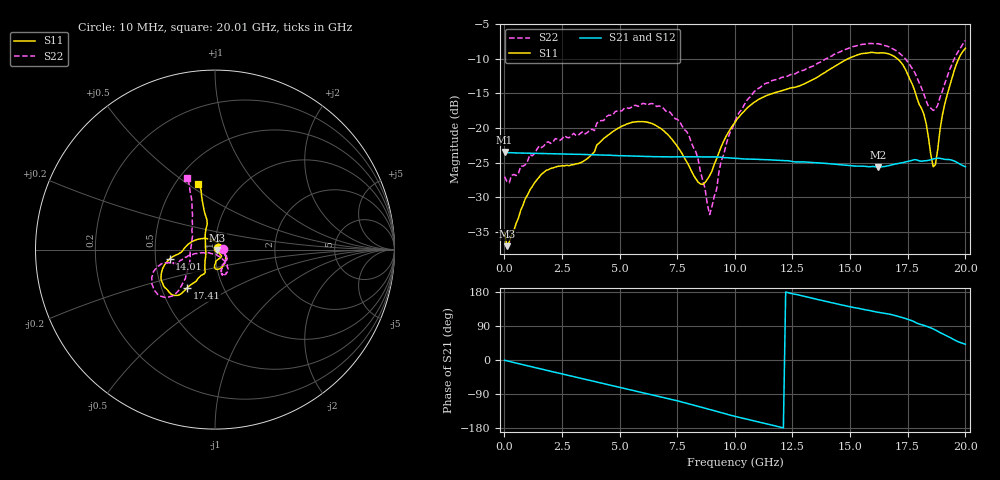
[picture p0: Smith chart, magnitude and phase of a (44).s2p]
! Hittite Microwave Corporation
! 2 Elizabeth Drive
! Chelmsford, MA 01824
! http://www.hittite.com
! Tel: 978-250-3343
! Fax: 978-250-3373
! Device:  HMC424LP3
! Description: 0.5 dB GaAs MMIC 6-Bit Digital Attenuator
! Frequency:  DC -  13.00 GHz
! Package:  LP3  - 3x3 mm Quad Flatpack No-Lead (QFN) Plastic Package: 16 pin
! Ports:  2 RF, 7 DC
!  Pad  1  = Ground
!  Pad  2  = RF IN  = Port 1
!  Pad  3  = Ground
!  Pad  4  = V6
!  Pad  5  = V5
!  Pad  6  = V4
!  Pad  7  = V3
!  Pad  8  = V2
!  Pad  9  = V1
!  Pad 10  = Ground
!  Pad 11  = RF OUT  = Port 2
!  Pad 12  = Ground
!  Pad 15  = VEE
! Control:  -5 Volt control voltage
! State:  42
! Attenuation:  21.0 dB
! Voltages:  Vdd = -5.00 Volts  Idd =  -2.396 mA
!  V1  = 0.00 Volts  I1  =  29.0 uA
!  V2  = -5.00 Volts  I2  =  -1.0 uA
!  V3  = 0.00 Volts  I3  =  29.0 uA
!  V4  = -5.00 Volts  I4  =  -1.0 uA
!  V5  = 0.00 Volts  I5  =  29.0 uA
!  V6  = -5.00 Volts  I6  =  -1.0 uA
! Data:  The device was measured on evaluation board 105354-1.
!  Data was collected using a calibrated network analyzer.
!  The evaluation circuit board was modeled and simulated.  This was use
!  to removed the evaluation board circuit from the measured data.
!  The reference plane is the edge of the package pin.
! Misc:  Lot xxxx, Unit 1
!  Application 20120001, Data collected in Application 20090083
! Date Measured:  2009-09-15
! Date:  2012-05-14  MJV
! Note:
!  Hittite supplies this data as a sample of measured data at the package pin
!  for this product.  Your particular data for this product may vary.
!  Data was taken at 25 degrees C.
!  Hittite reserves the right to change this data at anytime.
# GHz S MA R 50
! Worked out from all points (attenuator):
!   201 points, 10 MHz to 20.01 GHz, reference 50 ohm
!   highest |S21| = -23.44 dB at 10 MHz (marker M1); lowest = -25.6 dB at 16.21 GHz (marker M2)
!   lowest |S11| = -37.0 dB at 110 MHz (marker M3), VSWR 1.03, Z = 51.4 - j0.205 ohm
!   |S11| at or under -10 dB: start of sweep to 14.92 GHz; 17.05 GHz to 19.72 GHz (2.671 GHz wide, 14.5 % of centre)
!   |S22| runs from -32.5 to -7.4 dB; largest |S21 - S12| = 0.0014
!   S11 on the Smith chart (normalised r, x): 10 MHz: 1.03, +0.01; 14.01 GHz: 0.59, -0.07; 17.41 GHz: 0.67, -0.31; 20.01 GHz: 0.65, +0.55
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0.01  0.01765 20.4  0.06727 -0.8  0.06752 -2.0  0.04467 6.5
0.11  0.01406 -8.2  0.06658 -2.1  0.0664 -2.2  0.04114 0.4
1.61  0.04641 -43.1  0.06546 -24.0  0.06534 -24.1  0.07228 -28.5
3.41  0.05725 -73.3  0.0645 -49.6  0.0644 -49.7  0.0942 -54.1
5.11  0.1034 -90.5  0.0631 -73.5  0.06312 -73.6  0.1332 -75.0
6.71  0.101 -63.6  0.06212 -96.0  0.06205 -96.0  0.1444 -63.6
8.01  0.0534 -8.5  0.06197 -115.6  0.06191 -115.7  0.08834 -49.0
8.51  0.03949 39.7  0.06199 -123.8  0.06184 -123.8  0.04832 -54.0
8.91  0.04546 87.4  0.06191 -130.4  0.06176 -130.5  0.02376 -103.4
9.41  0.07331 124.5  0.06159 -139.1  0.06154 -139.2  0.05776 -159.3
10.01  0.1099 148.2  0.06054 -148.6  0.0604 -148.6  0.1115 -168.6
11.21  0.1662 175.4  0.05926 -166.1  0.05908 -166.0  0.2039 -162.6
13.41  0.2242 -171.8  0.05631 162.4  0.05614 162.4  0.28 -164.8
14.01  0.258 -168.5  0.05546 153.9  0.05544 153.8  0.3181 -164.4
16.21  0.3471 -139.3  0.05229 126.1  0.05218 126.2  0.4058 -142.0
16.71  0.3415 -131.5  0.05365 121.0  0.05344 121.0  0.384 -136.0
17.41  0.2641 -126.1  0.05697 109.5  0.05685 109.6  0.3148 -131.6
18.21  0.1256 -116.5  0.05798 91.4  0.05779 91.3  0.1751 -148.1
18.61  0.05259 -166.6  0.05982 82.0  0.05961 82.1  0.1339 173.9
18.71  0.05448 167.2  0.06036 79.1  0.06019 79.2  0.1364 162.4
19.21  0.1713 105.2  0.05937 63.5  0.05928 63.6  0.2309 122.9
20.01  0.3761 104.4  0.05262 41.6  0.05253 41.7  0.428 111.2
